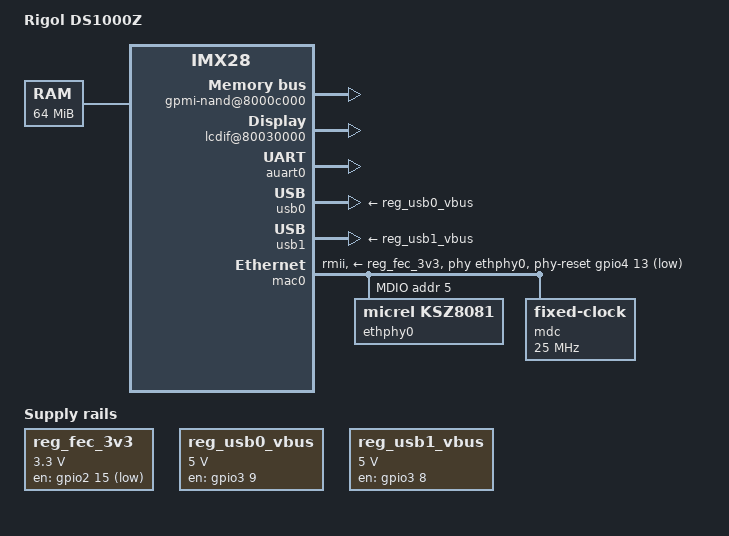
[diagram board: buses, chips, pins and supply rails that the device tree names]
/*
 * Copyright 2012 Freescale Semiconductor, Inc.
 *
 * The code contained herein is licensed under the GNU General Public
 * License. You may obtain a copy of the GNU General Public License
 * Version 2 or later at the following locations:
 *
 * http://www.opensource.org/licenses/gpl-license.html
 * http://www.gnu.org/copyleft/gpl.html
 */

/dts-v1/;
#include "imx28.dtsi"

/ {
	model = "Rigol DS1000Z";
	compatible = "rigol,ds1000z", "fsl,imx28";

	memory {
		reg = <0x40000000 0x04000000>;
	};

	apb@80000000 {
		apbh@80000000 {
			gpmi-nand@8000c000 {
				pinctrl-names = "default";
				pinctrl-0 = <&gpmi_pins_a &gpmi_status_cfg>;
				status = "okay";
			};
			pinctrl@80018000 {
				pinctrl-names = "default";
				lcdif_pins_ds1000z: lcdif-ds1000z@0 {
					reg = <0>;
					fsl,pinmux-ids = <
						MX28_PAD_LCD_RD_E__LCD_VSYNC
						MX28_PAD_LCD_WR_RWN__LCD_HSYNC
						MX28_PAD_LCD_RS__LCD_DOTCLK
						MX28_PAD_LCD_CS__LCD_ENABLE
					>;
					fsl,drive-strength = <MXS_DRIVE_4mA>;
					fsl,voltage = <MXS_VOLTAGE_HIGH>;
					fsl,pull-up = <MXS_PULL_DISABLE>;
				};
			};

			lcdif@80030000 {
				pinctrl-names = "default";
				pinctrl-0 = <&lcdif_24bit_pins_a
					     &lcdif_pins_ds1000z>;
				display = <&display>;
				status = "okay";

				display: display {
					bits-per-pixel = <32>;
					bus-width = <24>;

					display-timings {
						native-mode = <&timing0>;
						timing0: timing0 {
							clock-frequency = <30000000>;
							hactive = <800>;
							vactive = <480>;
							hback-porch = <211>;
							hfront-porch = <35>;
							vback-porch = <24>;
							vfront-porch = <0>;
							hsync-len = <10>;
							vsync-len = <21>;
							hsync-active = <1>;
							vsync-active = <1>;
							de-active = <1>;
							pixelclk-active = <0>;
						};
					};
				};
			};
		};

		apbx@80040000 {
			auart0: serial@8006a000 {
				pinctrl-names = "default";
				pinctrl-0 = <&auart0_pins_a>;
				uart-has-rtscts;
				status = "okay";
			};

			usbphy0: usbphy@8007c000 {
				status = "okay";
			};

			usbphy1: usbphy@8007e000 {
				status = "okay";
			};
		};

	};

	ahb@80080000 {
		usb0: usb@80080000 {
			pinctrl-names = "default";
			pinctrl-0 = <&usb0_id_pins_a>;
			vbus-supply = <&reg_usb0_vbus>;
			status = "okay";
		};

		usb1: usb@80090000 {
			vbus-supply = <&reg_usb1_vbus>;
			status = "okay";
		};

		mac0: ethernet@800f0000 {
			phy-mode = "rmii";
			pinctrl-names = "default";
			pinctrl-0 = <&mac0_pins_a>;
			phy-supply = <&reg_fec_3v3>;
			phy-reset-gpios = <&gpio4 13 0>;
			phy-reset-duration = <100>;
			phy-handle = <&ethphy0>;
			status = "okay";
			mdio {
				#address-cells = <1>;
				#size-cells = <0>;

				ethphy0: ethernet-phy@0 {
					compatible = "micrel,ksz8081";
					micrel,rmii-reference-clock-select-25-mhz;
					clocks = <&mdc>;
					clock-names = "rmii-ref";
					phy-handle = <&ethphy0>;
					reg = <5>;
				};

			};

			mdc: rmii-ref {
				#clock-cells = <0>;
				compatible ="fixed-clock";
				clock-frequency = <25000000>;
			};
		};
	};

	regulators {
		compatible = "simple-bus";

		reg_fec_3v3: fec-3v3 {
			compatible = "regulator-fixed";
			regulator-name = "fec-3v3";
			regulator-min-microvolt = <3300000>;
			regulator-max-microvolt = <3300000>;
			gpio = <&gpio2 15 0>;
		};

		reg_usb0_vbus: usb0_vbus {
			compatible = "regulator-fixed";
			regulator-name = "usb0_vbus";
			regulator-min-microvolt = <5000000>;
			regulator-max-microvolt = <5000000>;
			gpio = <&gpio3 9 0>;
			enable-active-high;
		};

		reg_usb1_vbus: usb1_vbus {
			compatible = "regulator-fixed";
			regulator-name = "usb1_vbus";
			regulator-min-microvolt = <5000000>;
			regulator-max-microvolt = <5000000>;
			gpio = <&gpio3 8 0>;
			enable-active-high;
		};

	};


       chosen {
               stdout-path = &auart0;
       }; 
};
